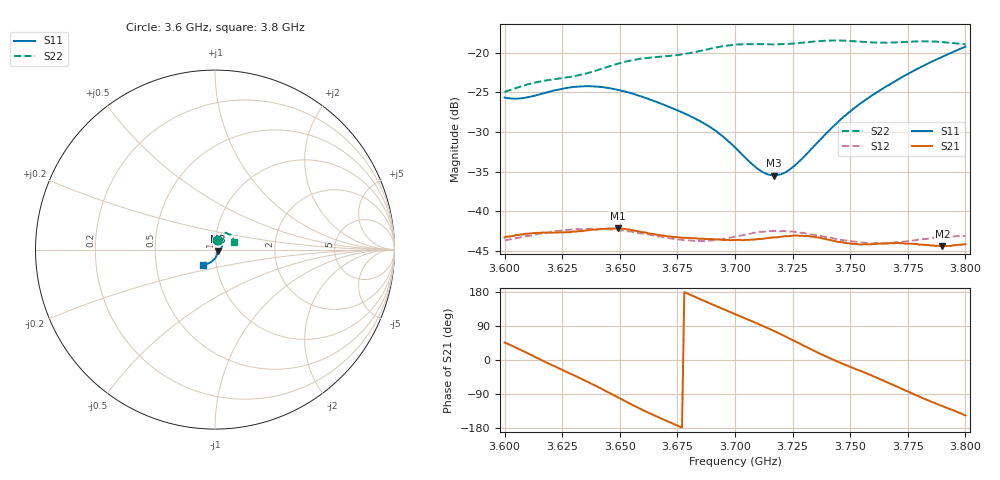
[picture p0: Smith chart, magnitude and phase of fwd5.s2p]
#  HZ  S  DB  R  50.00
! Rohde & Schwarz ZVB8 2Ports - Version 3.70 - 1145.1010k08 SN: 100925
! Date: 2017-03-03 16:12:54
! Measurements: S11 S21 S12 S22
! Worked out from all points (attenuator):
!   201 points, 3.6 GHz to 3.8 GHz, reference 50 ohm
!   highest |S21| = -42.14 dB at 3.649 GHz (marker M1); lowest = -44.4 dB at 3.79 GHz (marker M2)
!   lowest |S11| = -35.5 dB at 3.717 GHz (marker M3), VSWR 1.03, Z = 51.4 - j0.955 ohm
!   |S11| at or under -10 dB: start of sweep to end of sweep
!   |S22| runs from -24.9 to -18.5 dB; largest |S21 - S12| = 0.0013
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3.6e9  -25.65 78.4  -43.28 46.4  -43.66 45.9  -24.94 71.6
3.608e9  -25.72 85.6  -42.92 23.8  -43.21 23.9  -24.17 72.3
3.626e9  -24.48 84.4  -42.65 -28.9  -42.39 -29.7  -23.16 72.9
3.634e9  -24.24 76.5  -42.47 -51.8  -42.25 -54.5  -22.72 70.4
3.649e9  -24.67 56.8  -42.14 -98.0  -42.37 -101.1  -21.40 66.7
3.657e9  -25.30 45.9  -42.48 -122.9  -42.68 -125.6  -20.85 66.6
3.667e9  -26.32 34.2  -42.98 -151.6  -43.18 -153.6  -20.52 65.6
3.678e9  -27.64 22.3  -43.34 179.1  -43.66 177.8  -20.17 61.9
3.686e9  -28.81 12.9  -43.46 157.5  -43.74 158.2  -19.70 59.1
3.692e9  -29.93 4.5  -43.55 141.9  -43.61 143.6  -19.33 57.8
3.7e9  -31.93 -7.9  -43.61 121.0  -43.18 123.6  -18.99 57.0
3.71e9  -34.66 -23.4  -43.49 95.5  -42.65 94.4  -18.92 55.6
3.714e9  -35.32 -29.2  -43.39 84.6  -42.53 82.2  -18.94 54.5
3.717e9  -35.49 -33.5  -43.28 76.2  -42.46 72.8  -18.94 53.4
3.72e9  -35.32 -38.2  -43.21 67.7  -42.52 63.2  -18.93 52.1
3.724e9  -34.67 -44.6  -43.10 56.0  -42.55 50.7  -18.87 50.4
3.734e9  -31.87 -61.5  -43.19 25.1  -42.94 20.4  -18.60 46.7
3.75e9  -27.39 -84.3  -44.06 -18.0  -43.74 -22.7  -18.52 43.0
3.759e9  -25.47 -94.3  -44.16 -39.8  -44.04 -44.5  -18.69 39.3
3.767e9  -24.01 -101.8  -44.02 -61.2  -43.99 -64.1  -18.73 35.1
3.79e9  -20.50 -120.5  -44.39 -121.5  -43.28 -125.6  -18.66 26.9
3.8e9  -19.24 -127.3  -44.15 -146.3  -43.10 -154.9  -18.94 22.5
